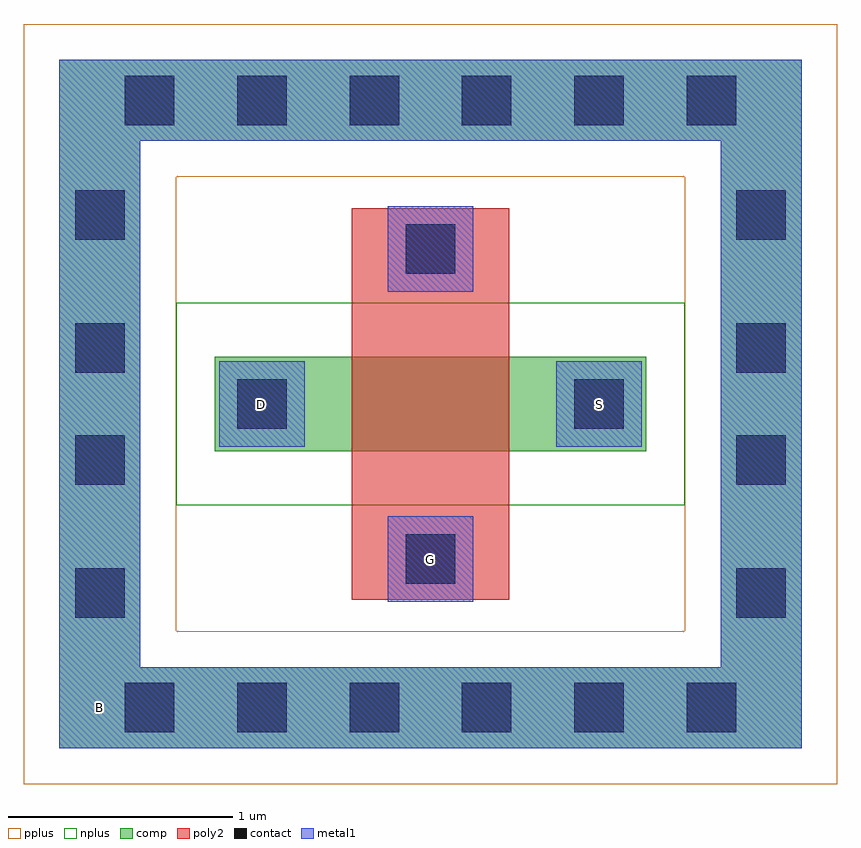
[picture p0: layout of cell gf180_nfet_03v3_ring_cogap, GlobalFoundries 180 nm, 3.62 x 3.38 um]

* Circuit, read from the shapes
.subckt gf180_nfet_03v3_ring_cogap B D G S
XM1 S G D B nfet_03v3 w=0.42u l=0.7u
.ends

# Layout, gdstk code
import gdstk
lib = gdstk.Library(unit=1e-6, precision=1e-09)
def R(c, l, rs):  # rectangles x0, y0, x1, y1
    for r in rs: c.add(gdstk.rectangle(r[:2], r[2:], *l))
def A(c, l, x, y, w, h, nx, ny, dx, dy):  # array of equal rectangles
    R(c, l, [(x+i*dx, y+j*dy, x+i*dx+w, y+j*dy+h) for i in range(nx) for j in range(ny)])
def P(c, l, *ps):  # polygons
    for p in ps: c.add(gdstk.Polygon(p, *l))
comp = (22, 0)
poly2 = (30, 0)
pplus = (31, 0)
nplus = (32, 0)
contact = (33, 0)
metal1 = (34, 0)

nfet = lib.new_cell('nfet')
R(nfet, comp, [(-0.42,0,1.5,0.42)])
R(nfet, poly2, [(0.19,-0.66,0.89,1.08)])
R(nfet, nplus, [(-0.59,-0.24,1.67,0.66)])
R(nfet, contact, [(0.43,-0.59,0.65,-0.37), (-0.32,0.1,-0.1,0.32), (1.18,0.1,1.4,0.32), (0.43,0.79,0.65,1.01)])
R(nfet, metal1, [(0.35,-0.67,0.73,-0.29), (-0.4,0.02,-0.02,0.4), (1.1,0.02,1.48,0.4), (0.35,0.71,0.73,1.09)])

gf180_nfet_03v3_ring_cog = lib.new_cell('gf180_nfet_03v3_ring_cogap')
P(gf180_nfet_03v3_ring_cog, comp, [(-1.11,-1.32),(-1.11,1.38),(-0.75,1.38),(-0.75,-0.96),(1.83,-0.96),(1.83,1.38),(-1.11,1.38),(-1.11,1.74),(2.19,1.74),(2.19,-1.32)])
P(gf180_nfet_03v3_ring_cog, pplus, [(-1.27,-1.48),(-1.27,1.22),(-0.59,1.22),(-0.59,-0.8),(1.67,-0.8),(1.67,1.22),(-1.27,1.22),(-1.27,1.9),(2.35,1.9),(2.35,-1.48)])
A(gf180_nfet_03v3_ring_cog, contact, -0.82, -1.25, 0.22, 0.22, 6, 2, 0.5, 2.7)
R(gf180_nfet_03v3_ring_cog, contact, [(-1.04,-0.74,-0.82,-0.52), (1.9,-0.74,2.12,-0.52), (-1.04,-0.15,-0.82,0.07), (1.9,-0.15,2.12,0.07), (-1.04,0.35,-0.82,0.57), (1.9,0.35,2.12,0.57), (-1.04,0.94,-0.82,1.16), (1.9,0.94,2.12,1.16)])
P(gf180_nfet_03v3_ring_cog, metal1, [(-1.11,-1.32),(-1.11,1.38),(-0.75,1.38),(-0.75,-0.96),(1.83,-0.96),(1.83,1.38),(-1.11,1.38),(-1.11,1.74),(2.19,1.74),(2.19,-1.32)])
gf180_nfet_03v3_ring_cog.add(gdstk.Reference(nfet, (0,0)))
gf180_nfet_03v3_ring_cog.add(gdstk.Label('D', (-0.21,0.21), layer=34, texttype=10))
gf180_nfet_03v3_ring_cog.add(gdstk.Label('S', (1.29,0.21), layer=34, texttype=10))
gf180_nfet_03v3_ring_cog.add(gdstk.Label('G', (0.54,-0.48), layer=34, texttype=10))
gf180_nfet_03v3_ring_cog.add(gdstk.Label('B', (-0.93,-1.14), layer=34, texttype=10))

lib.write_gds('gf180_nfet_03v3_ring_cogap.gds')
